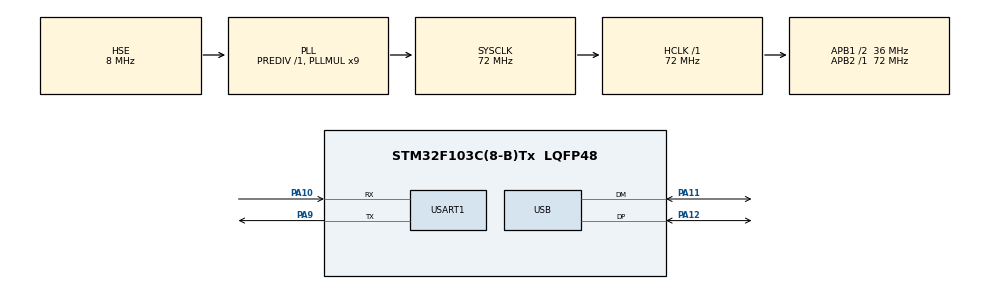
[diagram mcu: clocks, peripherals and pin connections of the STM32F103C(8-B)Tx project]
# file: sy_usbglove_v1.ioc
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Dma.Request0=USART1_RX
Dma.USART1_RX.0.Direction=DMA_PERIPH_TO_MEMORY
Dma.USART1_RX.0.Instance=DMA1_Channel5
Dma.USART1_RX.0.MemDataAlignment=DMA_MDATAALIGN_BYTE
Dma.USART1_RX.0.MemInc=DMA_MINC_ENABLE
Dma.USART1_RX.0.Mode=DMA_NORMAL
Dma.USART1_RX.0.PeriphDataAlignment=DMA_PDATAALIGN_BYTE
Dma.USART1_RX.0.PeriphInc=DMA_PINC_DISABLE
Dma.USART1_RX.0.Priority=DMA_PRIORITY_LOW
FREERTOS.Tasks01=defaultTask,0,128,StartDefaultTask,Default,NULL,Dynamic,NULL,NULL;myTask02,-3,128,StartTask02,Default,NULL,Dynamic,NULL,NULL;myTask03,-3,128,StartTask03,Default,NULL,Dynamic,NULL,NULL
FREERTOS.configTOTAL_HEAP_SIZE=7168
Mcu.Family=STM32F1
Mcu.Name=STM32F103C(8-B)Tx
Mcu.Package=LQFP48
NVIC.DMA1_Channel5_IRQn=true\:5\:0\:false\:false\:true\:true\:false
NVIC.PriorityGroup=NVIC_PRIORITYGROUP_4
NVIC.TIM4_IRQn=true\:0\:0\:false\:false\:true\:false\:false
NVIC.TimeBase=TIM4_IRQn
NVIC.TimeBaseIP=TIM4
NVIC.USART1_IRQn=true\:5\:0\:false\:false\:true\:true\:true
NVIC.USB_LP_CAN1_RX0_IRQn=true\:5\:0\:false\:false\:true\:true\:false
PA10.Mode=Asynchronous
PA10.Signal=USART1_RX
PA11.Mode=Device
PA11.Signal=USB_DM
PA12.Mode=Device
PA12.Signal=USB_DP
PA13.Mode=Serial_Wire
PA13.Signal=SYS_JTMS-SWDIO
PA14.Mode=Serial_Wire
PA14.Signal=SYS_JTCK-SWCLK
PA9.Mode=Asynchronous
PA9.Signal=USART1_TX
PD0-OSC_IN.Mode=HSE-External-Oscillator
PD0-OSC_IN.Signal=RCC_OSC_IN
PD1-OSC_OUT.Mode=HSE-External-Oscillator
PD1-OSC_OUT.Signal=RCC_OSC_OUT
ProjectManager.HeapSize=0x200
ProjectManager.StackSize=0x400
ProjectManager.TargetToolchain=MDK-ARM V5
RCC.AHBFreq_Value=72000000
RCC.APB1CLKDivider=RCC_HCLK_DIV2
RCC.APB1Freq_Value=36000000
RCC.APB1TimFreq_Value=72000000
RCC.APB2Freq_Value=72000000
RCC.APB2TimFreq_Value=72000000
RCC.HCLKFreq_Value=72000000
RCC.PLLMUL=RCC_PLL_MUL9
RCC.SYSCLKFreq_VALUE=72000000
RCC.SYSCLKSource=RCC_SYSCLKSOURCE_PLLCLK
RCC.USBFreq_Value=48000000
RCC.USBPrescaler=RCC_USBCLKSOURCE_PLL_DIV1_5
USART1.VirtualMode=VM_ASYNC
USB.ep0_mps=DEP0CTL_MPS_16
USB_DEVICE.CLASS_NAME_FS=CUSTOMHID
USB_DEVICE.MANUFACTURER_STRING=SiYi.Intelligece
USB_DEVICE.PRODUCT_STRING_CUSTOMHID_FS=AdapterV1.0
USB_DEVICE.USBD_CUSTOMHID_OUTREPORT_BUF_SIZE=16
USB_DEVICE.USBD_CUSTOM_HID_REPORT_DESC_SIZE=112
USB_DEVICE.USBD_MAX_NUM_INTERFACES=1
USB_DEVICE.VirtualMode=CustomHid
USB_DEVICE.VirtualModeFS=Custom_Hid_FS
VP_FREERTOS_VS_ENABLE.Mode=Enabled
VP_SYS_VS_tim4.Mode=TIM4
VP_USB_DEVICE_VS_USB_DEVICE_CUSTOM_HID_FS.Mode=CUSTOM_HID_FS
board=custom

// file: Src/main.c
/**
  ******************************************************************************
  * @file           : main.c
  * @brief          : Main program body
  ******************************************************************************
  * This notice applies to any and all portions of this file
  * that are not between comment pairs USER CODE BEGIN and
  * USER CODE END. Other portions of this file, whether
  * inserted by the user or by software development tools
  * are owned by their respective copyright owners.
  *
  * Copyright (c) 2019 STMicroelectronics International N.V.
  * All rights reserved.
  *
  * Redistribution and use in source and binary forms, with or without
  * modification, are permitted, provided that the following conditions are met:
  *
  * 1. Redistribution of source code must retain the above copyright notice,
  *    this list of conditions and the following disclaimer.
  * 2. Redistributions in binary form must reproduce the above copyright notice,
  *    this list of conditions and the following disclaimer in the documentation
  *    and/or other materials provided with the distribution.
  * 3. Neither the name of STMicroelectronics nor the names of other
  *    contributors to this software may be used to endorse or promote products
  *    derived from this software without specific written permission.
  * 4. This software, including modifications and/or derivative works of this
  *    software, must execute solely and exclusively on microcontroller or
  *    microprocessor devices manufactured by or for STMicroelectronics.
  * 5. Redistribution and use of this software other than as permitted under
  *    this license is void and will automatically terminate your rights under
  *    this license.
  *
  * THIS SOFTWARE IS PROVIDED BY STMICROELECTRONICS AND CONTRIBUTORS "AS IS"
  * AND ANY EXPRESS, IMPLIED OR STATUTORY WARRANTIES, INCLUDING, BUT NOT
  * LIMITED TO, THE IMPLIED WARRANTIES OF MERCHANTABILITY, FITNESS FOR A
  * PARTICULAR PURPOSE AND NON-INFRINGEMENT OF THIRD PARTY INTELLECTUAL PROPERTY
  * RIGHTS ARE DISCLAIMED TO THE FULLEST EXTENT PERMITTED BY LAW. IN NO EVENT
  * SHALL STMICROELECTRONICS OR CONTRIBUTORS BE LIABLE FOR ANY DIRECT, INDIRECT,
  * INCIDENTAL, SPECIAL, EXEMPLARY, OR CONSEQUENTIAL DAMAGES (INCLUDING, BUT NOT
  * LIMITED TO, PROCUREMENT OF SUBSTITUTE GOODS OR SERVICES; LOSS OF USE, DATA,
  * OR PROFITS; OR BUSINESS INTERRUPTION) HOWEVER CAUSED AND ON ANY THEORY OF
  * LIABILITY, WHETHER IN CONTRACT, STRICT LIABILITY, OR TORT (INCLUDING
  * NEGLIGENCE OR OTHERWISE) ARISING IN ANY WAY OUT OF THE USE OF THIS SOFTWARE,
  * EVEN IF ADVISED OF THE POSSIBILITY OF SUCH DAMAGE.
  *
  ******************************************************************************
  */
#include "main.h"
#include "stm32f1xx_hal.h"
#include "cmsis_os.h"
#include "dma.h"
#include "usart.h"
#include "usb_device.h"
#include "gpio.h"

/* USER CODE BEGIN PV */
/* Private variables ---------------------------------------------------------*/

/* USER CODE END PV */

void SystemClock_Config(void);
void MX_FREERTOS_Init(void);

/* USER CODE BEGIN PFP */
/* Private function prototypes -----------------------------------------------*/

/* USER CODE END PFP */

int main(void)
{

  /* MCU Configuration----------------------------------------------------------*/

  /* Reset of all peripherals, Initializes the Flash interface and the Systick. */
  HAL_Init();

  /* Configure the system clock */
  SystemClock_Config();

  /* Initialize all configured peripherals */
  MX_GPIO_Init();
  MX_DMA_Init();
  MX_USART1_UART_Init();
  /* USER CODE BEGIN 2 */
	/*wait usb initialized ...*/
	MX_USB_DEVICE_Init();
	HAL_Delay(3000);

  /* USER CODE END 2 */

  /* Call init function for freertos objects (in freertos.c) */
  MX_FREERTOS_Init();

  /* Start scheduler */
  osKernelStart();

  /* We should never get here as control is now taken by the scheduler */

  /* Infinite loop */
  while (1)
  {

  }

}

void SystemClock_Config(void)
{

  RCC_OscInitTypeDef RCC_OscInitStruct;
  RCC_ClkInitTypeDef RCC_ClkInitStruct;
  RCC_PeriphCLKInitTypeDef PeriphClkInit;

    /**Initializes the CPU, AHB and APB busses clocks
    */
  RCC_OscInitStruct.OscillatorType = RCC_OSCILLATORTYPE_HSE;
  RCC_OscInitStruct.HSEState = RCC_HSE_ON;
  RCC_OscInitStruct.HSEPredivValue = RCC_HSE_PREDIV_DIV1;
  RCC_OscInitStruct.HSIState = RCC_HSI_ON;
  RCC_OscInitStruct.PLL.PLLState = RCC_PLL_ON;
  RCC_OscInitStruct.PLL.PLLSource = RCC_PLLSOURCE_HSE;
  RCC_OscInitStruct.PLL.PLLMUL = RCC_PLL_MUL9;
  if (HAL_RCC_OscConfig(&RCC_OscInitStruct) != HAL_OK)
  {
    _Error_Handler(__FILE__, __LINE__);
  }

    /**Initializes the CPU, AHB and APB busses clocks
    */
  RCC_ClkInitStruct.ClockType = RCC_CLOCKTYPE_HCLK|RCC_CLOCKTYPE_SYSCLK
                              |RCC_CLOCKTYPE_PCLK1|RCC_CLOCKTYPE_PCLK2;
  RCC_ClkInitStruct.SYSCLKSource = RCC_SYSCLKSOURCE_PLLCLK;
  RCC_ClkInitStruct.AHBCLKDivider = RCC_SYSCLK_DIV1;
  RCC_ClkInitStruct.APB1CLKDivider = RCC_HCLK_DIV2;
  RCC_ClkInitStruct.APB2CLKDivider = RCC_HCLK_DIV1;

  if (HAL_RCC_ClockConfig(&RCC_ClkInitStruct, FLASH_LATENCY_2) != HAL_OK)
  {
    _Error_Handler(__FILE__, __LINE__);
  }

  PeriphClkInit.PeriphClockSelection = RCC_PERIPHCLK_USB;
  PeriphClkInit.UsbClockSelection = RCC_USBCLKSOURCE_PLL_DIV1_5;
  if (HAL_RCCEx_PeriphCLKConfig(&PeriphClkInit) != HAL_OK)
  {
    _Error_Handler(__FILE__, __LINE__);
  }

    /**Configure the Systick interrupt time
    */
  HAL_SYSTICK_Config(HAL_RCC_GetHCLKFreq()/1000);

    /**Configure the Systick
    */
  HAL_SYSTICK_CLKSourceConfig(SYSTICK_CLKSOURCE_HCLK);

  /* SysTick_IRQn interrupt configuration */
  HAL_NVIC_SetPriority(SysTick_IRQn, 15, 0);
}

void HAL_TIM_PeriodElapsedCallback(TIM_HandleTypeDef *htim)
{
  if (htim->Instance == TIM4) {
    HAL_IncTick();
  }
}

void _Error_Handler(char *file, int line)
{
  while(1)
  {
  }
}

/************************ (C) COPYRIGHT STMicroelectronics *****END OF FILE****/

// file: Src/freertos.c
/* USER CODE BEGIN Header */
/**
  ******************************************************************************
  * File Name          : freertos.c
  * Description        : Code for freertos applications
  ******************************************************************************
  * This notice applies to any and all portions of this file
  * that are not between comment pairs USER CODE BEGIN and
  * USER CODE END. Other portions of this file, whether
  * inserted by the user or by software development tools
  * are owned by their respective copyright owners.
  *
  * Copyright (c) 2019 STMicroelectronics International N.V.
  * All rights reserved.
  *
  * Redistribution and use in source and binary forms, with or without
  * modification, are permitted, provided that the following conditions are met:
  *
  * 1. Redistribution of source code must retain the above copyright notice,
  *    this list of conditions and the following disclaimer.
  * 2. Redistributions in binary form must reproduce the above copyright notice,
  *    this list of conditions and the following disclaimer in the documentation
  *    and/or other materials provided with the distribution.
  * 3. Neither the name of STMicroelectronics nor the names of other
  *    contributors to this software may be used to endorse or promote products
  *    derived from this software without specific written permission.
  * 4. This software, including modifications and/or derivative works of this
  *    software, must execute solely and exclusively on microcontroller or
  *    microprocessor devices manufactured by or for STMicroelectronics.
  * 5. Redistribution and use of this software other than as permitted under
  *    this license is void and will automatically terminate your rights under
  *    this license.
  *
  * THIS SOFTWARE IS PROVIDED BY STMICROELECTRONICS AND CONTRIBUTORS "AS IS"
  * AND ANY EXPRESS, IMPLIED OR STATUTORY WARRANTIES, INCLUDING, BUT NOT
  * LIMITED TO, THE IMPLIED WARRANTIES OF MERCHANTABILITY, FITNESS FOR A
  * PARTICULAR PURPOSE AND NON-INFRINGEMENT OF THIRD PARTY INTELLECTUAL PROPERTY
  * RIGHTS ARE DISCLAIMED TO THE FULLEST EXTENT PERMITTED BY LAW. IN NO EVENT
  * SHALL STMICROELECTRONICS OR CONTRIBUTORS BE LIABLE FOR ANY DIRECT, INDIRECT,
  * INCIDENTAL, SPECIAL, EXEMPLARY, OR CONSEQUENTIAL DAMAGES (INCLUDING, BUT NOT
  * LIMITED TO, PROCUREMENT OF SUBSTITUTE GOODS OR SERVICES; LOSS OF USE, DATA,
  * OR PROFITS; OR BUSINESS INTERRUPTION) HOWEVER CAUSED AND ON ANY THEORY OF
  * LIABILITY, WHETHER IN CONTRACT, STRICT LIABILITY, OR TORT (INCLUDING
  * NEGLIGENCE OR OTHERWISE) ARISING IN ANY WAY OUT OF THE USE OF THIS SOFTWARE,
  * EVEN IF ADVISED OF THE POSSIBILITY OF SUCH DAMAGE.
  *
  ******************************************************************************
  */
/* USER CODE END Header */

#include "FreeRTOS.h"
#include "task.h"
#include "main.h"
#include "cmsis_os.h"

/* USER CODE BEGIN Includes */
#include "usbd_customhid.h"
#include "usb_device.h"
#include "usart.h"
#include "gpio.h"

#include "thread_usbframe_process.h"
#include "thread_frame_send.h"
#include "thread_ble_transfer.h"
/* USER CODE END Includes */

/* USER CODE BEGIN PD */
typedef enum ble_status
{
	POWER_ON,
	CONNECTED,
	DISCONNECTED,
}enum_Ble_Status_TypeDef;

enum_Ble_Status_TypeDef ble_status = CONNECTED;

/* USER CODE END PD */

/* USER CODE BEGIN Variables */
uint32_t connected_tick;
/* USER CODE END Variables */
osThreadId defaultTaskHandle;
osThreadId myTask02Handle;
osThreadId myTask03Handle;

void StartDefaultTask(void const * argument);
void StartTask02(void const * argument);
void StartTask03(void const * argument);

extern void MX_USB_DEVICE_Init(void);
void MX_FREERTOS_Init(void); /* (MISRA C 2004 rule 8.1) */

void MX_FREERTOS_Init(void) {

  /* Create the thread(s) */
  /* definition and creation of defaultTask */
  osThreadDef(defaultTask, StartDefaultTask, osPriorityNormal, 0, 128);
  defaultTaskHandle = osThreadCreate(osThread(defaultTask), NULL);

  /* definition and creation of myTask02 */
  osThreadDef(myTask02, StartTask02, osPriorityNormal, 0, 128);
  myTask02Handle = osThreadCreate(osThread(myTask02), NULL);

  /* definition and creation of myTask03 */
//  osThreadDef(myTask03, StartTask03, osPriorityNormal, 0, 128);
//  myTask03Handle = osThreadCreate(osThread(myTask03), NULL);

  /* USER CODE BEGIN RTOS_THREADS */
  /* add threads, ... */
	init_thread_usbframe_process();
	init_thread_frame_send();
	init_thread_ble_transfer();
  /* USER CODE END RTOS_THREADS */

}

void StartDefaultTask(void const * argument)
{
  /* init code for USB_DEVICE */

  /* USER CODE BEGIN StartDefaultTask */
  /* Infinite loop */
  for(;;)
  {
		/* init code for UART Receive */
		__HAL_UART_ENABLE_IT(&huart1, UART_IT_IDLE);
		UART_Frame.Rx_Size = MAX_UART_BUF_LEN;
		UART_Frame.Rx_Flag = 0;
		HAL_UART_Receive_DMA(&huart1, UART_Frame.RxBuff, MAX_UART_BUF_LEN);
		for(;;)
		{
			osDelay(osWaitForever);
		}

  }
  /* USER CODE END StartDefaultTask */
}

void StartTask02(void const * argument)
{
  /* USER CODE BEGIN StartTask02 */
  /* Infinite loop */
  for(;;)
  {
		switch	(ble_status)
		{
			case POWER_ON:
				if(IS_BLE_CONNECTED(BLE_CONNECTED_STATE_PIN))
				{
					ble_status = CONNECTED;
				}
				else
				{
					BLE_Reset();
					ble_status = CONNECTED;
				}
			break;

			case CONNECTED:
				if(IS_BLE_CONNECTED(BLE_CONNECTED_STATE_PIN) == 0)
				{
					connected_tick = HAL_GetTick();
					ble_status = DISCONNECTED;
				}

			break;

			case	DISCONNECTED:
				if(IS_BLE_CONNECTED(BLE_CONNECTED_STATE_PIN))
				{
					ble_status = CONNECTED;
				}
				else
				{
					if(HAL_GetTick() - connected_tick > 120000)
					{
						BLE_Reset();
						ble_status = CONNECTED;
					}
				}

			break;

			default:
				ble_status = CONNECTED;
				break;
		}
		HAL_GPIO_TogglePin(GPIOB, GPIO_PIN_13);
		osDelay(100);
  }
  /* USER CODE END StartTask02 */
}

void StartTask03(void const * argument)
{
  for(;;)
  {
    osDelay(1);
  }
}

/************************ (C) COPYRIGHT STMicroelectronics *****END OF FILE****/
